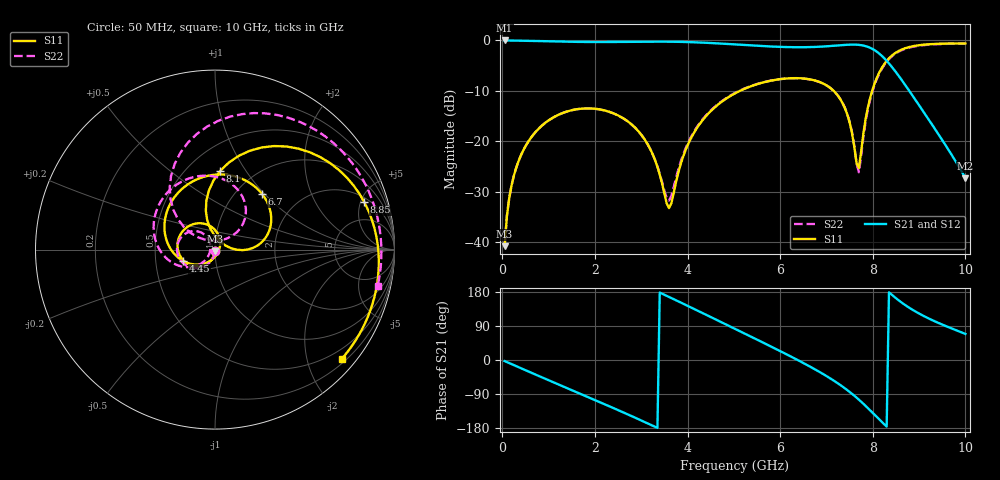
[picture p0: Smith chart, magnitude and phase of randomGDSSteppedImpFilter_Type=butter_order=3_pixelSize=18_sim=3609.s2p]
! freq	dB(S11)	phase(S11)	dB(S12)	phase(S12)
!  dB(S21)	phase(S21)	dB(S22)	phase(S22)
!S-par simulation data
#  GHz  S  DB  R 50
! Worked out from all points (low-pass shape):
!   200 points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, 50 MHz to 10 GHz, reference 50 ohm
!   highest |S21| = -0.01 dB at 50 MHz (marker M1); lowest = -27.3 dB at 10 GHz (marker M2)
!   |S21| within 3 dB of the highest: start of sweep to 8.188 GHz
!   lowest |S11| = -40.8 dB at 50 MHz (marker M3), VSWR 1.02, Z = 49.9 - j0.909 ohm
!   |S11| at or under -10 dB: start of sweep to 5.133 GHz; 7.154 GHz to 7.987 GHz (833.3 MHz wide, 11 % of centre)
!   |S22| runs from -40.8 to -0.6 dB; largest |S21 - S12| = 0
!   S11 on the Smith chart (normalised r, x): 50 MHz: 1.00, -0.02; 4.45 GHz: 0.69, -0.09; 6.7 GHz: 1.31, +0.97; 8.1 GHz: 0.71, +0.77; 8.85 GHz: 2.43, +5.39; 10 GHz: 0.29, -2.67
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0.05  -40.81 -92.7  -0.01 -2.8  -0.01 -2.8  -40.78 -92.3
0.2  -28.76 -101.8  -0.03 -10.8  -0.03 -10.8  -28.75 -100.5
0.5  -21.00 -119.0  -0.07 -26.9  -0.07 -26.9  -21.00 -115.8
1.15  -15.04 -155.7  -0.21 -61.3  -0.21 -61.3  -15.03 -148.2
1.75  -13.51 170.5  -0.31 -92.6  -0.31 -92.6  -13.51 -177.1
2.8  -16.73 107.3  -0.27 -148.5  -0.27 -148.5  -16.75 135.1
3.4  -26.61 51.9  -0.24 177.9  -0.24 177.9  -26.47 127.1
3.6  -33.26 -22.9  -0.25 166.4  -0.25 166.4  -31.74 177.6
3.95  -21.94 -119.3  -0.31 146.0  -0.31 146.0  -21.61 -132.9
4.45  -14.50 -160.4  -0.49 116.4  -0.49 116.4  -14.37 -149.4
5.05  -10.38 158.4  -0.81 80.7  -0.81 80.7  -10.31 -178.8
5.95  -7.75 99.1  -1.27 26.6  -1.27 26.6  -7.74 133.2
6.7  -7.83 49.6  -1.31 -21.2  -1.31 -21.2  -7.85 89.0
7.35  -12.49 5.4  -0.92 -70.4  -0.92 -70.4  -12.44 45.8
7.5  -16.26 -1.1  -0.84 -84.2  -0.84 -84.2  -16.15 38.5
7.7  -25.35 63.1  -0.89 -104.6  -0.89 -104.6  -26.14 98.7
7.9  -13.05 103.2  -1.30 -127.6  -1.30 -127.6  -13.40 144.1
8.1  -7.15 86.2  -2.33 -152.0  -2.33 -152.0  -7.37 126.1
8.35  -3.55 60.3  -4.57 178.7  -4.57 178.7  -3.71 98.9
8.85  -1.18 17.6  -10.83 133.1  -10.83 133.1  -1.28 53.2
9.35  -0.69 -12.1  -17.67 101.4  -17.67 101.4  -0.76 20.2
10  -0.61 -40.7  -27.32 68.8  -27.32 68.8  -0.64 -12.8
